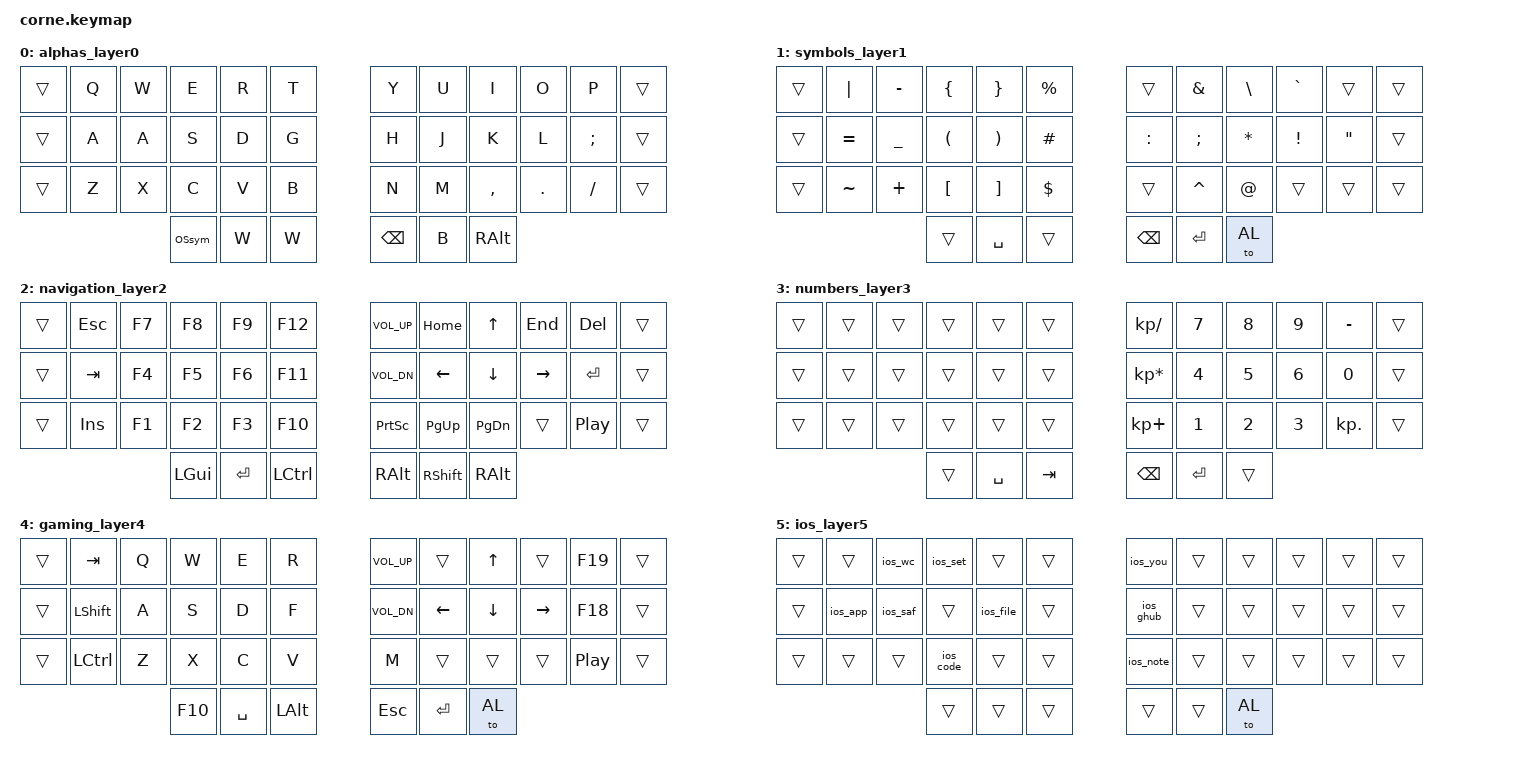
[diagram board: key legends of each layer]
/*
 * Copyright (c) 2020 The ZMK Contributors
 *
 * SPDX-License-Identifier: MIT
 */

#include <behaviors.dtsi>
#include <dt-bindings/zmk/keys.h>
#include <dt-bindings/zmk/bt.h>


&mt {
    tapping-term-ms = <201>;
    flavor = "tap-preferred";
};
&sk {
     release-after-ms = <2000>;
     quick-release;
};

/* Layers */
#define AL 0
#define SYM 1
#define NAV 2
#define NUM 3
#define GAME 4
#define IOS 5

/ {

        behaviors {
                hrl: homerow_layers {
                        compatible = "zmk,behavior-hold-tap";
                        label = "HOMEROW_LAYERS";
                        #binding-cells = <2>;
                        tapping-term-ms = <240>;
                        quick_tap_ms = <0>;
                        flavor = "tap-preferred";
                        bindings = <&mo>, <&kp>;
                };
        };

        macros {
                OSsym: one_shot_system_layer {
                        compatible = "zmk,behavior-macro";
                        label = "MACRO1";
                        #binding-cells = <0>;
                        bindings = <&sl SYM>;
                };
                ios_saf: ios_safari {
                        compatible = "zmk,behavior-macro";
                        label = "MACRO2";
                        #binding-cells = <0>;
                        bindings
                                = <&macro_press &kp LCTRL>
                                , <&macro_tap &kp SPACE>
                                , <&macro_release &kp LCTRL>
                                , <&macro_tap &kp S &kp A &kp F>
                                , <&macro_tap &kp ENTER>
                                ;
                };
                ios_set: ios_settings {
                        compatible = "zmk,behavior-macro";
                        label = "MACRO3";
                        #binding-cells = <0>;
                        bindings
                                = <&macro_press &kp LCTRL>
                                , <&macro_tap &kp SPACE>
                                , <&macro_release &kp LCTRL>
                                , <&macro_tap &kp S &kp E &kp T>
                                , <&macro_tap &kp ENTER>
                                ;
                };
                ios_you: ios_youtube {
                        compatible = "zmk,behavior-macro";
                        label = "MACRO4";
                        #binding-cells = <0>;
                        bindings
                                = <&macro_press &kp LCTRL>
                                , <&macro_tap &kp SPACE>
                                , <&macro_release &kp LCTRL>
                                , <&macro_tap &kp Y &kp O &kp U>
                                , <&macro_tap &kp ENTER>
                                ;
                };
                ios_file: ios_files {
                        compatible = "zmk,behavior-macro";
                        label = "MACRO5";
                        #binding-cells = <0>;
                        bindings
                                = <&macro_press &kp LCTRL>
                                , <&macro_tap &kp SPACE>
                                , <&macro_release &kp LCTRL>
                                , <&macro_tap &kp F &kp I &kp L>
                                , <&macro_tap &kp ENTER>
                                ;
                };
                ios_note: ios_notes {
                        compatible = "zmk,behavior-macro";
                        label = "MACRO6";
                        #binding-cells = <0>;
                        bindings
                                = <&macro_press &kp LCTRL>
                                , <&macro_tap &kp SPACE>
                                , <&macro_release &kp LCTRL>
                                , <&macro_tap &kp N &kp O &kp T>
                                , <&macro_tap &kp ENTER>
                                ;
                };
                ios_ghub: ios_github {
                        compatible = "zmk,behavior-macro";
                        label = "MACRO7";
                        #binding-cells = <0>;
                        bindings
                                = <&macro_press &kp LCTRL>
                                , <&macro_tap &kp SPACE>
                                , <&macro_release &kp LCTRL>
                                , <&macro_tap &kp G &kp I &kp T &kp H>
                                , <&macro_tap &kp ENTER>
                                ;
                };
                ios_code: ios_codeapp {
                        compatible = "zmk,behavior-macro";
                        label = "MACRO8";
                        #binding-cells = <0>;
                        bindings
                                = <&macro_press &kp LCTRL>
                                , <&macro_tap &kp SPACE>
                                , <&macro_release &kp LCTRL>
                                , <&macro_tap &kp C &kp O &kp D &kp E>
                                , <&macro_tap &kp ENTER>
                                ;
                };
                ios_wc: ios_workingcopy {
                        compatible = "zmk,behavior-macro";
                        label = "MACRO9";
                        #binding-cells = <0>;
                        bindings
                                = <&macro_press &kp LCTRL>
                                , <&macro_tap &kp SPACE>
                                , <&macro_release &kp LCTRL>
                                , <&macro_tap &kp W &kp O &kp R &kp K>
                                , <&macro_tap &kp ENTER>
                                ;
                };
                ios_app: ios_appstore {
                        compatible = "zmk,behavior-macro";
                        label = "MACRO10";
                        #binding-cells = <0>;
                        bindings
                                = <&macro_press &kp LCTRL>
                                , <&macro_tap &kp SPACE>
                                , <&macro_release &kp LCTRL>
                                , <&macro_tap &kp A &kp P &kp P>
                                , <&macro_tap &kp ENTER>
                                ;
                };
        };

        combos {
                compatible = "zmk,combos";
                combo_caps {
                        timeout-ms = <30>;
                        key-positions = <19 20 21>;
                        bindings = <&caps_word>;
                        layers = <AL>;
                };
                combo_gaming {
                        timeout-ms = <30>;
                        key-positions = <32 33 34>;
                        bindings = <&to 4>;
                        layers = <AL>;
                };
                combo_OSsym_left {
			timeout-ms = <30>;
			key-positions = <15 16>;
			bindings = <&OSsym>;
		        layers = <AL>;
		};
                combo_OSsym_right {
			timeout-ms = <30>;
			key-positions = <19 20>;
			bindings = <&OSsym>;
		        layers = <AL>;
		};
                combo_ios {
                        timeout-ms = <30>;
                        key-positions = <2 3 4>;
                        bindings = <&sl IOS>;
                        layers = <AL>;
                };
        };

};

/ {
        keymap {
                compatible = "zmk,keymap";

                alphas_layer0 {
                bindings = <
        &trans          &kp Q           &kp W           &kp E           &kp R           &kp T                   &kp Y           &kp U           &kp I           &kp O           &kp P           &trans
        &trans          &kp A           &kp A           &kp S           &kp D           &kp G                   &kp H           &kp J           &kp K           &kp L           &kp SEMI        &trans
        &trans          &kp Z           &kp X           &kp C           &kp V           &kp B                   &kp N           &kp M           &kp COMMA       &kp DOT         &kp FSLH        &trans
                                                        &OSsym          &kp W           &kp W                   &kp BSPC        &kp B           &kp RALT
                        >;
                };
                
                symbols_layer1 {
                bindings = <
        &trans          &kp PIPE        &kp MINUS       &kp LBRC        &kp RBRC        &kp PRCNT               &trans          &kp AMPS        &kp BSLH        &kp GRAVE       &trans          &trans
        &trans          &kp EQUAL       &kp UNDER       &kp LPAR        &kp RPAR        &kp HASH                &kp COLON       &kp SEMI        &kp STAR        &kp EXCL        &kp DQT         &trans
        &trans          &kp TILDE       &kp PLUS        &kp LBKT        &kp RBKT        &kp DLLR                &trans          &kp CARET       &kp AT          &trans          &trans          &trans
                                                        &trans          &kp SPACE       &trans                  &kp BSPC        &kp ENTER       &to AL
                        >;
                };

                navigation_layer2 {
                bindings = <
        &trans          &kp ESC         &kp F7          &kp F8          &kp F9          &kp F12                 &kp C_VOL_UP    &kp HOME        &kp UP          &kp END         &kp DEL         &trans
        &trans          &kp TAB         &kp F4          &kp F5          &kp F6          &kp F11                 &kp C_VOL_DN    &kp LEFT        &kp DOWN        &kp RIGHT       &kp ENTER       &trans
        &trans          &kp INS         &kp F1          &kp F2          &kp F3          &kp F10                 &kp PSCRN       &kp PG_UP       &kp PG_DN       &trans          &kp C_PP        &trans
                                                        &kp LGUI        &kp ENTER       &kp LCTRL               &kp RALT        &kp RSHFT       &kp RALT
                        >;
                };
                
                numbers_layer3 {
                bindings = <
        &trans          &trans          &trans          &trans          &trans          &trans                  &kp KP_SLASH    &kp N7          &kp N8          &kp N9          &kp MINUS       &trans
        &trans          &trans          &trans          &trans          &trans          &trans                  &kp KP_ASTERISK &kp N4          &kp N5          &kp N6          &kp N0          &trans
        &trans          &trans          &trans          &trans          &trans          &trans                  &kp KP_PLUS     &kp N1          &kp N2          &kp N3          &kp KP_DOT      &trans
                                                        &trans          &kp SPACE       &kp TAB                 &kp BSPC        &kp ENTER       &trans
                        >;
                };
                
                gaming_layer4 {
                bindings = <
        &trans          &kp TAB         &kp Q           &kp W           &kp E           &kp R                   &kp C_VOL_UP    &trans          &kp UP          &trans          &kp F19         &trans
        &trans          &kp LSHFT       &kp A           &kp S           &kp D           &kp F                   &kp C_VOL_DN    &kp LEFT        &kp DOWN        &kp RIGHT       &kp F18         &trans
        &trans          &kp LCTRL       &kp Z           &kp X           &kp C           &kp V                   &kp M           &trans          &trans          &trans          &kp C_PP        &trans
                                                        &kp F10         &kp SPACE       &kp LALT                &kp ESC         &kp ENTER       &to AL
                        >;
                };

                ios_layer5 {
                bindings = <
        &trans          &trans          &ios_wc         &ios_set        &trans          &trans                  &ios_you        &trans          &trans          &trans          &trans          &trans
        &trans          &ios_app        &ios_saf        &trans          &ios_file       &trans                  &ios_ghub       &trans          &trans          &trans          &trans          &trans
        &trans          &trans          &trans          &ios_code       &trans          &trans                  &ios_note       &trans          &trans          &trans          &trans          &trans
                                                        &trans          &trans          &trans                  &trans          &trans          &to AL
                        >;
                };

        };
};



